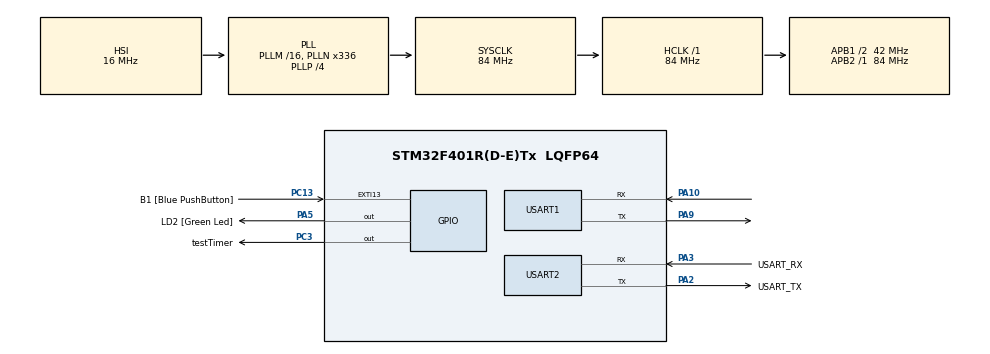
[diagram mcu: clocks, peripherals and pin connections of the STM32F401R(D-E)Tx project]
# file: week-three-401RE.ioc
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Mcu.Family=STM32F4
Mcu.Name=STM32F401R(D-E)Tx
Mcu.Package=LQFP64
NVIC.EXTI15_10_IRQn=true\:0\:0\:false\:false\:true\:true\:true\:true
NVIC.PriorityGroup=NVIC_PRIORITYGROUP_0
NVIC.TIM3_IRQn=true\:0\:0\:false\:false\:true\:true\:true\:true
PA10.Mode=Asynchronous
PA10.Signal=USART1_RX
PA13.GPIO_Label=TMS
PA13.Mode=Serial_Wire
PA13.Signal=SYS_JTMS-SWDIO
PA14.GPIO_Label=TCK
PA14.Mode=Serial_Wire
PA14.Signal=SYS_JTCK-SWCLK
PA2.GPIO_Label=USART_TX
PA2.GPIO_Mode=GPIO_MODE_AF_PP
PA2.GPIO_PuPd=GPIO_NOPULL
PA2.GPIO_Speed=GPIO_SPEED_FREQ_LOW
PA2.Mode=Asynchronous
PA2.Signal=USART2_TX
PA3.GPIO_Label=USART_RX
PA3.GPIO_Mode=GPIO_MODE_AF_PP
PA3.GPIO_PuPd=GPIO_NOPULL
PA3.GPIO_Speed=GPIO_SPEED_FREQ_LOW
PA3.Mode=Asynchronous
PA3.Signal=USART2_RX
PA5.GPIO_Label=LD2 [Green Led]
PA5.GPIO_Mode=GPIO_MODE_OUTPUT_PP
PA5.GPIO_PuPd=GPIO_NOPULL
PA5.GPIO_Speed=GPIO_SPEED_FREQ_LOW
PA5.Signal=GPIO_Output
PA9.Mode=Asynchronous
PA9.Signal=USART1_TX
PB3.GPIO_Label=SWO
PB3.Signal=SYS_JTDO-SWO
PC13-ANTI_TAMP.GPIO_Label=B1 [Blue PushButton]
PC13-ANTI_TAMP.GPIO_ModeDefaultEXTI=GPIO_MODE_IT_FALLING
PC13-ANTI_TAMP.GPIO_PuPd=GPIO_PULLUP
PC13-ANTI_TAMP.Signal=GPXTI13
PC14-OSC32_IN.Mode=LSE-External-Oscillator
PC14-OSC32_IN.Signal=RCC_OSC32_IN
PC15-OSC32_OUT.Mode=LSE-External-Oscillator
PC15-OSC32_OUT.Signal=RCC_OSC32_OUT
PC3.GPIO_Label=testTimer
PC3.Signal=GPIO_Output
PH0\ -\ OSC_IN.Mode=HSE-External-Clock-Source
PH0\ -\ OSC_IN.Signal=RCC_OSC_IN
PH1\ -\ OSC_OUT.Mode=HSE-External-Clock-Source
PH1\ -\ OSC_OUT.Signal=RCC_OSC_OUT
ProjectManager.HeapSize=0x200
ProjectManager.StackSize=0x400
ProjectManager.TargetToolchain=STM32CubeIDE
RCC.48MHZClocksFreq_Value=48000000
RCC.AHBFreq_Value=84000000
RCC.APB1CLKDivider=RCC_HCLK_DIV2
RCC.APB1Freq_Value=42000000
RCC.APB1TimFreq_Value=84000000
RCC.APB2Freq_Value=84000000
RCC.APB2TimFreq_Value=84000000
RCC.CortexFreq_Value=84000000
RCC.HCLKFreq_Value=84000000
RCC.HSE_VALUE=8000000
RCC.HSI_VALUE=16000000
RCC.PLLN=336
RCC.PLLP=RCC_PLLP_DIV4
RCC.PLLQ=7
RCC.SYSCLKFreq_VALUE=84000000
RCC.SYSCLKSource=RCC_SYSCLKSOURCE_PLLCLK
RCC.VCOOutputFreq_Value=336000000
TIM3.Period=4999
TIM3.Prescaler=83
USART1.VirtualMode=VM_ASYNC
USART2.VirtualMode=VM_ASYNC
VP_TIM3_VS_ClockSourceINT.Mode=Internal
board=NUCLEO-F401RE

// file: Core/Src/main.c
/* USER CODE BEGIN Header */
/**
  ******************************************************************************
  * @file           : main.c
  * @brief          : Main program body
  ******************************************************************************
  * @attention
  *
  * Copyright (c) 2022 STMicroelectronics.
  * All rights reserved.
  *
  * This software is licensed under terms that can be found in the LICENSE file
  * in the root directory of this software component.
  * If no LICENSE file comes with this software, it is provided AS-IS.
  *
  ******************************************************************************
  */
/* USER CODE END Header */
#include "main.h"
#include "tim.h"
#include "usart.h"
#include "gpio.h"

/* USER CODE BEGIN Includes */
#include "string.h"
#include "stdio.h"
#include "ledController.h"
#include "debounceController.h"
/* USER CODE END Includes */

void SystemClock_Config(void);

int main(void)
{

  /* MCU Configuration--------------------------------------------------------*/

  /* Reset of all peripherals, Initializes the Flash interface and the Systick. */
  HAL_Init();

  /* Configure the system clock */
  SystemClock_Config();

  /* Initialize all configured peripherals */
  MX_GPIO_Init();
  MX_USART2_UART_Init();
  MX_TIM3_Init();
  MX_USART1_UART_Init();
  /* USER CODE BEGIN 2 */
  ledControlStateToggle(1);
  const char* WelcomeMessage_1 = (char*)"Week 3 Assignment\n";
  const char* WelcomeMessage_2 = (char*)"-----------------\n\n";

  HAL_UART_Transmit(&huart1,(uint8_t*) WelcomeMessage_1, strlen(WelcomeMessage_1), 100);
  HAL_UART_Transmit(&huart1,(uint8_t*) WelcomeMessage_2, strlen(WelcomeMessage_2), 100);
  /* USER CODE END 2 */

  /* Infinite loop */
  /* USER CODE BEGIN WHILE */
  while (1)
  {
	  // Check if there has been a stable button press. If so, toggle the LED control state
	  if (buttonPressed())
	  	  	{
	  	  		if (!ledControlStateToggle())
	  	  		{
	  	  			ledOff(1);
	  	  		}
	  	  		buttonReset();
	  	  	}
	  	  	ledToggle();
	  	  	HAL_Delay(500);

    /* USER CODE END WHILE */

  }
}

void SystemClock_Config(void)
{
  RCC_OscInitTypeDef RCC_OscInitStruct = {0};
  RCC_ClkInitTypeDef RCC_ClkInitStruct = {0};

  /** Configure the main internal regulator output voltage
  */
  __HAL_RCC_PWR_CLK_ENABLE();
  __HAL_PWR_VOLTAGESCALING_CONFIG(PWR_REGULATOR_VOLTAGE_SCALE2);

  /** Initializes the RCC Oscillators according to the specified parameters
  * in the RCC_OscInitTypeDef structure.
  */
  RCC_OscInitStruct.OscillatorType = RCC_OSCILLATORTYPE_HSI;
  RCC_OscInitStruct.HSIState = RCC_HSI_ON;
  RCC_OscInitStruct.HSICalibrationValue = RCC_HSICALIBRATION_DEFAULT;
  RCC_OscInitStruct.PLL.PLLState = RCC_PLL_ON;
  RCC_OscInitStruct.PLL.PLLSource = RCC_PLLSOURCE_HSI;
  RCC_OscInitStruct.PLL.PLLM = 16;
  RCC_OscInitStruct.PLL.PLLN = 336;
  RCC_OscInitStruct.PLL.PLLP = RCC_PLLP_DIV4;
  RCC_OscInitStruct.PLL.PLLQ = 7;
  if (HAL_RCC_OscConfig(&RCC_OscInitStruct) != HAL_OK)
  {
    Error_Handler();
  }

  /** Initializes the CPU, AHB and APB buses clocks
  */
  RCC_ClkInitStruct.ClockType = RCC_CLOCKTYPE_HCLK|RCC_CLOCKTYPE_SYSCLK
                              |RCC_CLOCKTYPE_PCLK1|RCC_CLOCKTYPE_PCLK2;
  RCC_ClkInitStruct.SYSCLKSource = RCC_SYSCLKSOURCE_PLLCLK;
  RCC_ClkInitStruct.AHBCLKDivider = RCC_SYSCLK_DIV1;
  RCC_ClkInitStruct.APB1CLKDivider = RCC_HCLK_DIV2;
  RCC_ClkInitStruct.APB2CLKDivider = RCC_HCLK_DIV1;

  if (HAL_RCC_ClockConfig(&RCC_ClkInitStruct, FLASH_LATENCY_2) != HAL_OK)
  {
    Error_Handler();
  }
}

void Error_Handler(void)
{
  __disable_irq();
  while (1)
  {
  }
}
